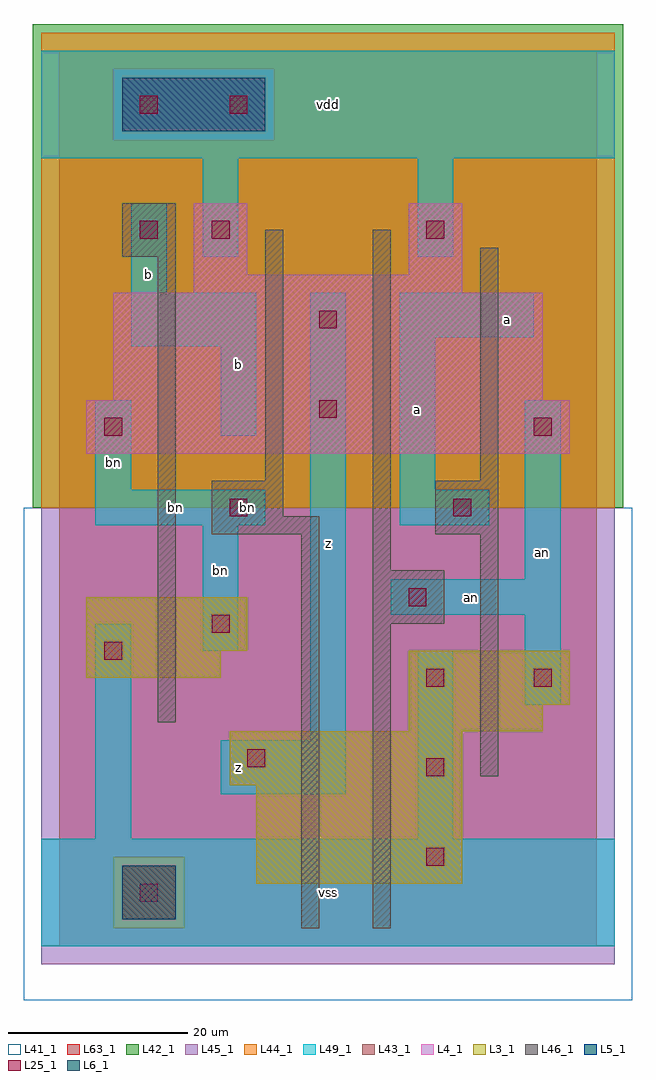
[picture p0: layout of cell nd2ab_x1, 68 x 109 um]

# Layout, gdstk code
import gdstk
lib = gdstk.Library(unit=1e-6, precision=1e-09)
def R(c, l, rs):  # rectangles x0, y0, x1, y1
    for r in rs: c.add(gdstk.rectangle(r[:2], r[2:], *l))
def A(c, l, x, y, w, h, nx, ny, dx, dy):  # array of equal rectangles
    R(c, l, [(x+i*dx, y+j*dy, x+i*dx+w, y+j*dy+h) for i in range(nx) for j in range(ny)])
L3_1 = (3, 1)
L4_1 = (4, 1)
L5_1 = (5, 1)
L6_1 = (6, 1)
L25_1 = (25, 1)
L41_1 = (41, 1)
L42_1 = (42, 1)
L43_1 = (43, 1)
L44_1 = (44, 1)
L45_1 = (45, 1)
L46_1 = (46, 1)
L49_1 = (49, 1)
L63_1 = (63, 1)

nd2ab_x1 = lib.new_cell('nd2ab_x1')
R(nd2ab_x1, L3_1, [(22,7,45,18), (19,18,45,24), (39,24,54,27), (39,27,57,33), (3,30,18,33), (3,33,21,39)])
R(nd2ab_x1, L4_1, [(3,55,57,61), (6,61,54,73), (15,73,45,75), (15,75,21,83), (39,75,45,83)])
R(nd2ab_x1, L5_1, [(7,91,23,97)])
R(nd2ab_x1, L6_1, [(7,3,13,9)])
A(nd2ab_x1, L25_1, 41, 9, 2, 2, 1, 3, 0, 10)
R(nd2ab_x1, L25_1, [(9,5,11,7), (21,20,23,22), (53,29,55,31), (5,32,7,34), (17,35,19,37), (39,38,41,40), (19,48,21,50), (44,48,46,50), (5,57,7,59), (53,57,55,59), (29,59,31,61), (29,69,31,71), (9,79,11,81), (17,79,19,81), (41,79,43,81), (9,93,11,95), (19,93,21,95)])
R(nd2ab_x1, L41_1, [(-4,-6,64,49), (-3,-3,63,49)])
R(nd2ab_x1, L42_1, [(-3,49,63,103)])
R(nd2ab_x1, L43_1, [(7,3,13,9), (22,7,45,18), (19,18,45,24), (39,24,54,27), (39,27,57,33), (3,30,18,33), (3,33,21,39), (3,55,57,61), (6,61,54,73), (15,73,45,75), (15,75,21,83), (39,75,45,83), (7,91,23,97)])
R(nd2ab_x1, L44_1, [(6,2,14,10), (-2,49,62,90), (-2,90,6,98), (24,90,62,98), (-2,98,62,102)])
R(nd2ab_x1, L45_1, [(-2,-2,62,2), (-2,2,6,10), (14,2,62,10), (-2,10,62,49), (6,90,24,98)])
R(nd2ab_x1, L46_1, [(27,2,29,46), (35,2,37,36), (47,19,49,46), (11,25,13,77), (35,36,43,42), (35,42,37,80), (17,46,29,48), (42,46,49,52), (17,48,25,52), (23,52,25,80), (47,52,49,78), (7,77,13,83)])
R(nd2ab_x1, L49_1, [(-2,0,62,12), (4,12,8,36), (40,12,44,33), (18,17,32,23), (28,23,32,73), (52,27,56,37), (16,33,20,47), (37,37,56,41), (52,41,56,61), (4,47,23,51), (38,47,48,51), (4,51,8,61), (38,51,42,68), (18,57,22,67), (8,67,22,73), (38,68,53,73), (8,73,12,83), (16,77,20,88), (40,77,44,88), (-2,88,62,100)])
R(nd2ab_x1, L63_1, [(0,0,60,100)])
nd2ab_x1.add(gdstk.Label('bn', (21,49), layer=49, texttype=1))
nd2ab_x1.add(gdstk.Label('bn', (6,54), layer=49, texttype=1))
nd2ab_x1.add(gdstk.Label('b', (10,75), layer=49, texttype=1))
nd2ab_x1.add(gdstk.Label('b', (10,75), layer=49, texttype=1))
nd2ab_x1.add(gdstk.Label('z', (20,20), layer=49, texttype=1))
nd2ab_x1.add(gdstk.Label('z', (20,20), layer=49, texttype=1))
nd2ab_x1.add(gdstk.Label('bn', (18,42), layer=49, texttype=1))
nd2ab_x1.add(gdstk.Label('bn', (13,49), layer=49, texttype=1))
nd2ab_x1.add(gdstk.Label('b', (20,65), layer=49, texttype=1))
nd2ab_x1.add(gdstk.Label('b', (20,65), layer=49, texttype=1))
nd2ab_x1.add(gdstk.Label('vss', (30,6), layer=49, texttype=1))
nd2ab_x1.add(gdstk.Label('vss', (30,6), layer=49, texttype=1))
nd2ab_x1.add(gdstk.Label('z', (30,45), layer=49, texttype=1))
nd2ab_x1.add(gdstk.Label('z', (30,45), layer=49, texttype=1))
nd2ab_x1.add(gdstk.Label('a', (40,60), layer=49, texttype=1))
nd2ab_x1.add(gdstk.Label('a', (40,60), layer=49, texttype=1))
nd2ab_x1.add(gdstk.Label('vdd', (30,94), layer=49, texttype=1))
nd2ab_x1.add(gdstk.Label('vdd', (30,94), layer=49, texttype=1))
nd2ab_x1.add(gdstk.Label('an', (46,39), layer=49, texttype=1))
nd2ab_x1.add(gdstk.Label('an', (54,44), layer=49, texttype=1))
nd2ab_x1.add(gdstk.Label('a', (50,70), layer=49, texttype=1))
nd2ab_x1.add(gdstk.Label('a', (50,70), layer=49, texttype=1))

lib.write_gds('nd2ab_x1.gds')
